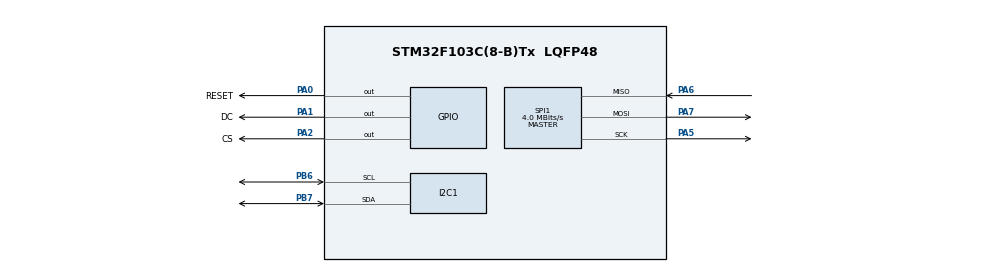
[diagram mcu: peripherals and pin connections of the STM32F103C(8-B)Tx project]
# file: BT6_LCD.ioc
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Mcu.Family=STM32F1
Mcu.Name=STM32F103C(8-B)Tx
Mcu.Package=LQFP48
NVIC.PriorityGroup=NVIC_PRIORITYGROUP_4
NVIC.SPI1_IRQn=true\:0\:0\:false\:false\:true\:true\:true\:true
PA0-WKUP.GPIO_Label=RESET
PA0-WKUP.PinState=GPIO_PIN_SET
PA0-WKUP.Signal=GPIO_Output
PA1.GPIO_Label=DC
PA1.PinState=GPIO_PIN_SET
PA1.Signal=GPIO_Output
PA13.Mode=Serial_Wire
PA13.Signal=SYS_JTMS-SWDIO
PA14.Mode=Serial_Wire
PA14.Signal=SYS_JTCK-SWCLK
PA2.GPIO_Label=CS
PA2.PinState=GPIO_PIN_SET
PA2.Signal=GPIO_Output
PA5.Mode=Full_Duplex_Master
PA5.Signal=SPI1_SCK
PA6.Mode=Full_Duplex_Master
PA6.Signal=SPI1_MISO
PA7.Mode=Full_Duplex_Master
PA7.Signal=SPI1_MOSI
PB6.Mode=I2C
PB6.Signal=I2C1_SCL
PB7.Mode=I2C
PB7.Signal=I2C1_SDA
PD0-OSC_IN.Mode=HSE-External-Oscillator
PD0-OSC_IN.Signal=RCC_OSC_IN
PD1-OSC_OUT.Mode=HSE-External-Oscillator
PD1-OSC_OUT.Signal=RCC_OSC_OUT
ProjectManager.HeapSize=0x200
ProjectManager.StackSize=0x400
ProjectManager.TargetToolchain=STM32CubeIDE
RCC.APB1Freq_Value=8000000
RCC.APB2Freq_Value=8000000
SPI1.BaudRatePrescaler=SPI_BAUDRATEPRESCALER_2
SPI1.CalculateBaudRate=4.0 MBits/s
SPI1.Direction=SPI_DIRECTION_2LINES
SPI1.Mode=SPI_MODE_MASTER
SPI1.VirtualType=VM_MASTER
board=custom

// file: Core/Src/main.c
/* USER CODE BEGIN Header */
/**
  ******************************************************************************
  * @file           : main.c
  * @brief          : Main program body
  ******************************************************************************
  * @attention
  *
  * Copyright (c) 2026 STMicroelectronics.
  * All rights reserved.
  *
  * This software is licensed under terms that can be found in the LICENSE file
  * in the root directory of this software component.
  * If no LICENSE file comes with this software, it is provided AS-IS.
  *
  ******************************************************************************
  */
/* USER CODE END Header */
#include "main.h"

/* USER CODE BEGIN Includes */
#include "ssd1306.h" // Thư viện OLED
#include "ssd1306_fonts.h"
#include <string.h>
#include <stdio.h>
/* USER CODE END Includes */

/* USER CODE BEGIN PD */
#define EEPROM_ADDR 0xA0
#define READ_START_ADDRESS 0x0000
#define MAX_LINES 6 //So dong toi da tren man hinh
#define CHARS_PER_LINE 19 //So ky tu tren 1 hang gom 18 ky tu va 1 ky tu ket thuc
#define TOTAL_CHARS 2600 //Tong ky tu cho 100 bang chu cai
/* USER CODE END PD */

I2C_HandleTypeDef hi2c1;

SPI_HandleTypeDef hspi1;

/* USER CODE BEGIN PV */

//Tao ra ma tran cac ky tu tuong ung voi 1 lan hien thi len LCD
char terminal_buffer[MAX_LINES][CHARS_PER_LINE] = {0};
char eeprom_data[TOTAL_CHARS];
/* USER CODE END PV */

void SystemClock_Config(void);
static void MX_GPIO_Init(void);
static void MX_I2C1_Init(void);
static void MX_SPI1_Init(void);

/* USER CODE BEGIN 0 */

//Ham day cac dong cu trong LCD len va dua dong moi len
void Terminal_Addline(const char* new_string) {
	for (int i=0; i<MAX_LINES - 1; i++) {

		//Chep cac chuoi len tren
		strcpy (terminal_buffer[i], terminal_buffer[i+1]);
	}

	//Copy chuoi moi vao dong cuoi cung cua ma tran
	strncpy(terminal_buffer[MAX_LINES-1], new_string, CHARS_PER_LINE -1);

	//Dam bao la ky tu cuoi la ky tu ket thuc
	terminal_buffer[MAX_LINES - 1][CHARS_PER_LINE - 1] = '\0';

}

//In toan bo ra man hinh
void Terminal_UpdateScreen(void){
	ssd1306_Fill(Black); //Xoa sach man hinh cu

	//In tung dong ra toa do tuong ung
	for (int i = 0; i < MAX_LINES; i++){
		ssd1306_SetCursor(0, i*10); //Moi dong cach nhau 10 pixel
		ssd1306_WriteString(terminal_buffer[i], Font_7x10, White); //in tung ky tu ra LCD
	}
	ssd1306_UpdateScreen(); //Day ra LCD bang SPI
}

//Ham doc EEPROM vao SRAM va xu ly thanh 18 ky tu moi dong
void Read_EEPROM_AND_CUT (void){
	//Doc 100 bang chu cai vao char eeprom_data
	if (HAL_I2C_Mem_Read(&hi2c1,
			EEPROM_ADDR,
			READ_START_ADDRESS,
			I2C_MEMADD_SIZE_16BIT,
			(uint8_t*)eeprom_data,
			TOTAL_CHARS, HAL_MAX_DELAY) != HAL_OK) {
		Terminal_Addline("Loi: EEPROM ngat ket noi");
		Terminal_UpdateScreen();
		return;
	}

	char temp_line[CHARS_PER_LINE]; //Tao mang cho 1 dong tren LCD
	char counter_str[6]; //Tao mang cho so thu tu bang chu cai

	//Duyet qua 100 bo chu cai 26 ky tu
	for (int i=0; i<100; i++) {

		//In so thu tu bang chu cai truoc
		sprintf(counter_str, "%d.", i+1); //Dinh dang so thu tu thanh 1 chuoi
		Terminal_Addline(counter_str);
		Terminal_UpdateScreen();
		HAL_Delay(300);

		//Cat va in 26 ky tu cua bo hien tai
		int start_idx = i*26; //Vi tri bat dau cua bo chu cai thu i
		int remaining = 26;
		int offset = 0;

		while (remaining > 0) {
			//Lay toi da 1 dong 18 ky tu
			int copy_len = (remaining >= (CHARS_PER_LINE - 1)) ? 18 : remaining;
			strncpy(temp_line, (char*)&eeprom_data[start_idx + offset], copy_len);
			temp_line[copy_len] = '\0';

			//Day len LCD
			Terminal_Addline(temp_line);
			Terminal_UpdateScreen();
			HAL_Delay (300);

			//Cap nhat lai so ky tu
			remaining -= copy_len;
			offset += copy_len;
		}

		//Khoang cach giua cac bang chu cai
		Terminal_Addline("------------------");
		Terminal_UpdateScreen();
		HAL_Delay(300);
	}
}
/* USER CODE END 0 */

int main(void)
{

  /* MCU Configuration--------------------------------------------------------*/

  /* Reset of all peripherals, Initializes the Flash interface and the Systick. */
  HAL_Init();

  /* Configure the system clock */
  SystemClock_Config();

  /* Initialize all configured peripherals */
  MX_GPIO_Init();
  MX_I2C1_Init();
  MX_SPI1_Init();
  /* USER CODE BEGIN 2 */
  ssd1306_Init();
  Read_EEPROM_AND_CUT();

  /* USER CODE END 2 */

  /* Infinite loop */
  while (1)
  {

  }
}

void SystemClock_Config(void)
{
  RCC_OscInitTypeDef RCC_OscInitStruct = {0};
  RCC_ClkInitTypeDef RCC_ClkInitStruct = {0};

  /** Initializes the RCC Oscillators according to the specified parameters
  * in the RCC_OscInitTypeDef structure.
  */
  RCC_OscInitStruct.OscillatorType = RCC_OSCILLATORTYPE_HSI;
  RCC_OscInitStruct.HSIState = RCC_HSI_ON;
  RCC_OscInitStruct.HSICalibrationValue = RCC_HSICALIBRATION_DEFAULT;
  RCC_OscInitStruct.PLL.PLLState = RCC_PLL_NONE;
  if (HAL_RCC_OscConfig(&RCC_OscInitStruct) != HAL_OK)
  {
    Error_Handler();
  }

  /** Initializes the CPU, AHB and APB buses clocks
  */
  RCC_ClkInitStruct.ClockType = RCC_CLOCKTYPE_HCLK|RCC_CLOCKTYPE_SYSCLK
                              |RCC_CLOCKTYPE_PCLK1|RCC_CLOCKTYPE_PCLK2;
  RCC_ClkInitStruct.SYSCLKSource = RCC_SYSCLKSOURCE_HSI;
  RCC_ClkInitStruct.AHBCLKDivider = RCC_SYSCLK_DIV1;
  RCC_ClkInitStruct.APB1CLKDivider = RCC_HCLK_DIV1;
  RCC_ClkInitStruct.APB2CLKDivider = RCC_HCLK_DIV1;

  if (HAL_RCC_ClockConfig(&RCC_ClkInitStruct, FLASH_LATENCY_0) != HAL_OK)
  {
    Error_Handler();
  }
}

static void MX_I2C1_Init(void)
{

  hi2c1.Instance = I2C1;
  hi2c1.Init.ClockSpeed = 100000;
  hi2c1.Init.DutyCycle = I2C_DUTYCYCLE_2;
  hi2c1.Init.OwnAddress1 = 0;
  hi2c1.Init.AddressingMode = I2C_ADDRESSINGMODE_7BIT;
  hi2c1.Init.DualAddressMode = I2C_DUALADDRESS_DISABLE;
  hi2c1.Init.OwnAddress2 = 0;
  hi2c1.Init.GeneralCallMode = I2C_GENERALCALL_DISABLE;
  hi2c1.Init.NoStretchMode = I2C_NOSTRETCH_DISABLE;
  if (HAL_I2C_Init(&hi2c1) != HAL_OK)
  {
    Error_Handler();
  }

}

static void MX_SPI1_Init(void)
{

  /* SPI1 parameter configuration*/
  hspi1.Instance = SPI1;
  hspi1.Init.Mode = SPI_MODE_MASTER;
  hspi1.Init.Direction = SPI_DIRECTION_2LINES;
  hspi1.Init.DataSize = SPI_DATASIZE_8BIT;
  hspi1.Init.CLKPolarity = SPI_POLARITY_LOW;
  hspi1.Init.CLKPhase = SPI_PHASE_1EDGE;
  hspi1.Init.NSS = SPI_NSS_SOFT;
  hspi1.Init.BaudRatePrescaler = SPI_BAUDRATEPRESCALER_2;
  hspi1.Init.FirstBit = SPI_FIRSTBIT_MSB;
  hspi1.Init.TIMode = SPI_TIMODE_DISABLE;
  hspi1.Init.CRCCalculation = SPI_CRCCALCULATION_DISABLE;
  hspi1.Init.CRCPolynomial = 10;
  if (HAL_SPI_Init(&hspi1) != HAL_OK)
  {
    Error_Handler();
  }

}

static void MX_GPIO_Init(void)
{
  GPIO_InitTypeDef GPIO_InitStruct = {0};

  /* GPIO Ports Clock Enable */
  __HAL_RCC_GPIOD_CLK_ENABLE();
  __HAL_RCC_GPIOA_CLK_ENABLE();
  __HAL_RCC_GPIOB_CLK_ENABLE();

  /*Configure GPIO pin Output Level */
  HAL_GPIO_WritePin(GPIOA, RESET_Pin|DC_Pin|CS_Pin, GPIO_PIN_SET);

  /*Configure GPIO pins : RESET_Pin DC_Pin CS_Pin */
  GPIO_InitStruct.Pin = RESET_Pin|DC_Pin|CS_Pin;
  GPIO_InitStruct.Mode = GPIO_MODE_OUTPUT_PP;
  GPIO_InitStruct.Pull = GPIO_NOPULL;
  GPIO_InitStruct.Speed = GPIO_SPEED_FREQ_LOW;
  HAL_GPIO_Init(GPIOA, &GPIO_InitStruct);

}

void Error_Handler(void)
{
  __disable_irq();
  while (1)
  {
  }
}
